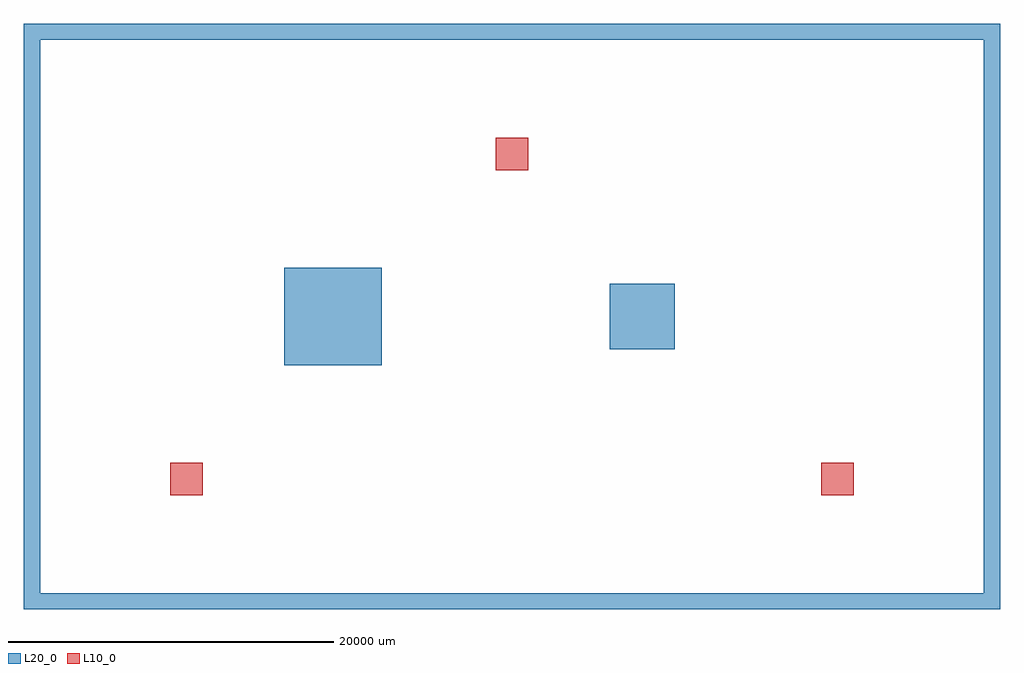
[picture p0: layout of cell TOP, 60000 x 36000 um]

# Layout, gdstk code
import gdstk
lib = gdstk.Library(unit=1e-6, precision=1e-09)
def R(c, l, rs):  # rectangles x0, y0, x1, y1
    for r in rs: c.add(gdstk.rectangle(r[:2], r[2:], *l))
L10_0 = (10, 0)
L20_0 = (20, 0)

top = lib.new_cell('TOP')
R(top, L10_0, [(-21000,-11000,-19000,-9000), (19000,-11000,21000,-9000), (-1000,9000,1000,11000)])
R(top, L20_0, [(-30000,-18000,30000,-17000), (-30000,-17000,-29000,17000), (29000,-17000,30000,17000), (-14000,-3000,-8000,3000), (6000,-2000,10000,2000), (-30000,17000,30000,18000)])

lib.write_gds('TOP.gds')
